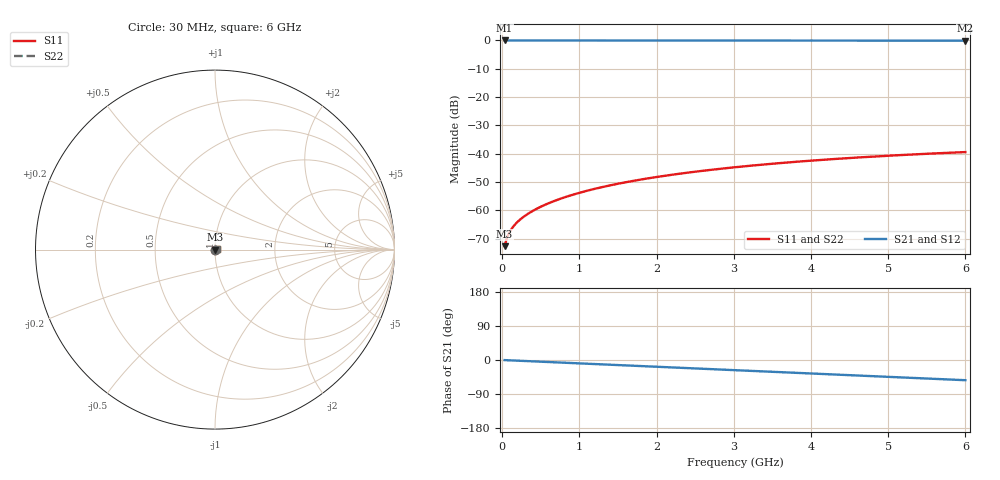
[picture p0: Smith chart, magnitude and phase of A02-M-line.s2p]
! yapnr Order 0 O0-M: O0-M A02 M dL4.5 (line, family M)
! stackup OSHPARK-4L-FR408HR, nominal parameters; geometry of the OSHPARK-4L-FR408HR design
! model: 2D quasi-static RLGC (Djordjevic-Sarkar, Huray roughness, Wheeler loss); generated by python -m yapnr.rf.coupons expected --stackup OSHPARK-4L-FR408HR --upload M
! reference planes 10 mm from each end; 50 ohm (from the M line's Zc)
# GHz S DB R 50
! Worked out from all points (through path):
!   200 points, 30 MHz to 6 GHz, reference 50 ohm
!   highest |S21| = 0.00 dB at 30 MHz (marker M1); lowest = -0.1 dB at 6 GHz (marker M2)
!   group delay of S21, straight-line fit = 24.7 ps
!   lowest |S11| = -72.7 dB at 30 MHz (marker M3), VSWR 1.00, Z = 50 + j0.0159 ohm
!   |S11| at or under -10 dB: start of sweep to end of sweep
!   |S22| runs from -72.7 to -39.4 dB; largest |S21 - S12| = 0
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0.03  -72.70 43.4  -0.00 -0.3  -0.00 -0.3  -72.70 43.4
0.06  -69.73 45.4  -0.00 -0.6  -0.00 -0.6  -69.73 45.4
0.09  -67.92 47.0  -0.00 -0.8  -0.00 -0.8  -67.92 47.0
0.12  -66.58 48.4  -0.00 -1.1  -0.00 -1.1  -66.58 48.4
0.15  -65.51 49.6  -0.00 -1.4  -0.00 -1.4  -65.51 49.6
0.21  -63.80 51.7  -0.01 -1.9  -0.01 -1.9  -63.80 51.7
0.3  -61.85 54.3  -0.01 -2.7  -0.01 -2.7  -61.85 54.3
0.42  -59.85 56.8  -0.01 -3.8  -0.01 -3.8  -59.85 56.8
0.51  -58.61 58.2  -0.01 -4.6  -0.01 -4.6  -58.61 58.2
0.6  -57.53 59.3  -0.01 -5.4  -0.01 -5.4  -57.53 59.3
0.81  -55.41 61.0  -0.01 -7.3  -0.01 -7.3  -55.41 61.0
1.05  -53.46 61.8  -0.02 -9.4  -0.02 -9.4  -53.46 61.8
1.26  -52.04 62.0  -0.02 -11.3  -0.02 -11.3  -52.04 62.0
1.5  -50.63 61.7  -0.02 -13.4  -0.02 -13.4  -50.63 61.7
1.77  -49.27 61.0  -0.03 -15.8  -0.03 -15.8  -49.27 61.0
2.04  -48.09 59.9  -0.03 -18.2  -0.03 -18.2  -48.09 59.9
2.52  -46.31 57.6  -0.03 -22.4  -0.03 -22.4  -46.31 57.6
3.03  -44.76 54.5  -0.04 -27.0  -0.04 -27.0  -44.76 54.5
3.54  -43.47 51.2  -0.04 -31.5  -0.04 -31.5  -43.47 51.2
4.02  -42.44 47.9  -0.05 -35.8  -0.05 -35.8  -42.44 47.9
5.01  -40.73 40.6  -0.06 -44.5  -0.06 -44.5  -40.73 40.6
6  -39.45 32.9  -0.07 -53.3  -0.07 -53.3  -39.45 32.9
